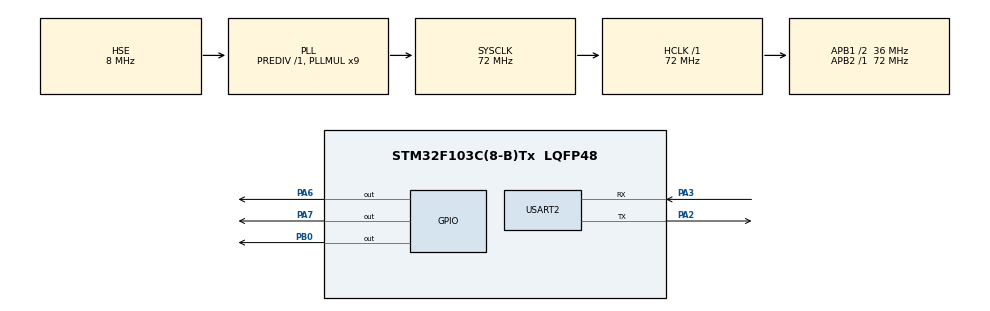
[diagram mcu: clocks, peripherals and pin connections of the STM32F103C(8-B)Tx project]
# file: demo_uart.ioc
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Mcu.Family=STM32F1
Mcu.Name=STM32F103C(8-B)Tx
Mcu.Package=LQFP48
NVIC.PriorityGroup=NVIC_PRIORITYGROUP_4
PA13.Mode=Serial_Wire
PA13.Signal=SYS_JTMS-SWDIO
PA14.Mode=Serial_Wire
PA14.Signal=SYS_JTCK-SWCLK
PA2.Mode=Asynchronous
PA2.Signal=USART2_TX
PA3.Mode=Asynchronous
PA3.Signal=USART2_RX
PA6.Signal=GPIO_Output
PA7.Signal=GPIO_Output
PB0.Signal=GPIO_Output
PD0-OSC_IN.Mode=HSE-External-Oscillator
PD0-OSC_IN.Signal=RCC_OSC_IN
PD1-OSC_OUT.Mode=HSE-External-Oscillator
PD1-OSC_OUT.Signal=RCC_OSC_OUT
ProjectManager.HeapSize=0x200
ProjectManager.StackSize=0x400
ProjectManager.TargetToolchain=MDK-ARM V5.32
RCC.AHBFreq_Value=72000000
RCC.APB1CLKDivider=RCC_HCLK_DIV2
RCC.APB1Freq_Value=36000000
RCC.APB1TimFreq_Value=72000000
RCC.APB2Freq_Value=72000000
RCC.APB2TimFreq_Value=72000000
RCC.HCLKFreq_Value=72000000
RCC.PLLMUL=RCC_PLL_MUL9
RCC.PLLSourceVirtual=RCC_PLLSOURCE_HSE
RCC.SYSCLKFreq_VALUE=72000000
RCC.SYSCLKSource=RCC_SYSCLKSOURCE_PLLCLK
RCC.USBFreq_Value=72000000
USART2.VirtualMode=VM_ASYNC
board=custom

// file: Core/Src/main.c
/* USER CODE BEGIN Header */
/**
  ******************************************************************************
  * @file           : main.c
  * @brief          : Main program body
  ******************************************************************************
  * @attention
  *
  * Copyright (c) 2025 STMicroelectronics.
  * All rights reserved.
  *
  * This software is licensed under terms that can be found in the LICENSE file
  * in the root directory of this software component.
  * If no LICENSE file comes with this software, it is provided AS-IS.
  *
  ******************************************************************************
  */
/* USER CODE END Header */
#include "main.h"
#include "usart.h"
#include "gpio.h"

/* USER CODE BEGIN Includes */
#include "stdio.h"
#include "string.h"
/* USER CODE END Includes */

void SystemClock_Config(void);

int main(void)
{

  /* MCU Configuration--------------------------------------------------------*/

  /* Reset of all peripherals, Initializes the Flash interface and the Systick. */
  HAL_Init();

  /* Configure the system clock */
  SystemClock_Config();

  /* Initialize all configured peripherals */
  MX_GPIO_Init();
  MX_USART2_UART_Init();
  /* USER CODE BEGIN 2 */
	char message[]="hello world";
	uint8_t receiveData[2];
  /* USER CODE END 2 */

  /* Infinite loop */
  /* USER CODE BEGIN WHILE */
  while (1)
  {

	  //HAL_UART_Transmit(&huart2,(uint8_t*)message,strlen(message),100);����
	  HAL_UART_Receive(&huart2,receiveData,2,HAL_MAX_DELAY);
	  HAL_UART_Transmit(&huart2,receiveData,2,100);
	  GPIO_PinState state=GPIO_PIN_SET;
	  if(receiveData[1]=='0')
	  {
		  state=GPIO_PIN_RESET;
	  }
	  if(receiveData[0]=='R')
	  {
		  HAL_GPIO_WritePin(GPIOA,GPIO_PIN_6,state);
	  }
	  else if(receiveData[0]=='B')
	  {
		  HAL_GPIO_WritePin(GPIOA,GPIO_PIN_7,state);
	  }
	  else if(receiveData[0]=='G')
	  {
		  HAL_GPIO_WritePin(GPIOB,GPIO_PIN_0,state);
	  }

    /* USER CODE END WHILE */

  }
}

void SystemClock_Config(void)
{
  RCC_OscInitTypeDef RCC_OscInitStruct = {0};
  RCC_ClkInitTypeDef RCC_ClkInitStruct = {0};

  /** Initializes the RCC Oscillators according to the specified parameters
  * in the RCC_OscInitTypeDef structure.
  */
  RCC_OscInitStruct.OscillatorType = RCC_OSCILLATORTYPE_HSE;
  RCC_OscInitStruct.HSEState = RCC_HSE_ON;
  RCC_OscInitStruct.HSEPredivValue = RCC_HSE_PREDIV_DIV1;
  RCC_OscInitStruct.HSIState = RCC_HSI_ON;
  RCC_OscInitStruct.PLL.PLLState = RCC_PLL_ON;
  RCC_OscInitStruct.PLL.PLLSource = RCC_PLLSOURCE_HSE;
  RCC_OscInitStruct.PLL.PLLMUL = RCC_PLL_MUL9;
  if (HAL_RCC_OscConfig(&RCC_OscInitStruct) != HAL_OK)
  {
    Error_Handler();
  }

  /** Initializes the CPU, AHB and APB buses clocks
  */
  RCC_ClkInitStruct.ClockType = RCC_CLOCKTYPE_HCLK|RCC_CLOCKTYPE_SYSCLK
                              |RCC_CLOCKTYPE_PCLK1|RCC_CLOCKTYPE_PCLK2;
  RCC_ClkInitStruct.SYSCLKSource = RCC_SYSCLKSOURCE_PLLCLK;
  RCC_ClkInitStruct.AHBCLKDivider = RCC_SYSCLK_DIV1;
  RCC_ClkInitStruct.APB1CLKDivider = RCC_HCLK_DIV2;
  RCC_ClkInitStruct.APB2CLKDivider = RCC_HCLK_DIV1;

  if (HAL_RCC_ClockConfig(&RCC_ClkInitStruct, FLASH_LATENCY_2) != HAL_OK)
  {
    Error_Handler();
  }
}

void Error_Handler(void)
{
  __disable_irq();
  while (1)
  {
  }
}
